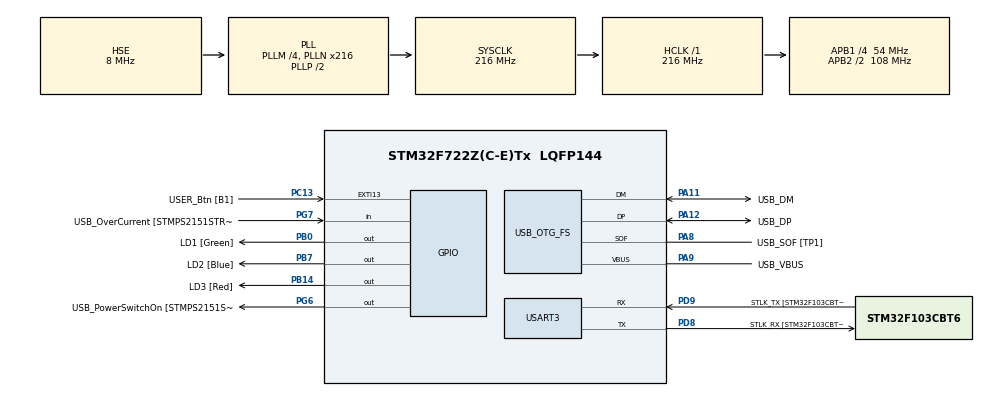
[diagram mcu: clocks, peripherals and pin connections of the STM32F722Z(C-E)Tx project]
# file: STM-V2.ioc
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Mcu.Family=STM32F7
Mcu.Name=STM32F722Z(C-E)Tx
Mcu.Package=LQFP144
NVIC.OTG_FS_IRQn=true\:0\:0\:false\:false\:true\:false\:true
NVIC.PriorityGroup=NVIC_PRIORITYGROUP_4
PA10.GPIO_Label=USB_ID
PA10.Signal=USB_OTG_FS_ID
PA11.GPIO_Label=USB_DM
PA11.Mode=Device_Only
PA11.Signal=USB_OTG_FS_DM
PA12.GPIO_Label=USB_DP
PA12.Mode=Device_Only
PA12.Signal=USB_OTG_FS_DP
PA13.GPIO_Label=TMS
PA13.Mode=Serial_Wire
PA13.Signal=SYS_JTMS-SWDIO
PA14.GPIO_Label=TCK
PA14.Mode=Serial_Wire
PA14.Signal=SYS_JTCK-SWCLK
PA8.GPIO_Label=USB_SOF [TP1]
PA8.Mode=Activate_SOF_FS
PA8.Signal=USB_OTG_FS_SOF
PA9.GPIO_Label=USB_VBUS
PA9.Mode=Activate_VBUS
PA9.Signal=USB_OTG_FS_VBUS
PB0.GPIO_Label=LD1 [Green]
PB0.Signal=GPIO_Output
PB14.GPIO_Label=LD3 [Red]
PB14.Signal=GPIO_Output
PB3.GPIO_Label=SWO
PB3.Signal=SYS_JTDO-SWO
PB7.GPIO_Label=LD2 [Blue]
PB7.Signal=GPIO_Output
PC13.GPIO_Label=USER_Btn [B1]
PC13.Signal=GPXTI13
PC14-OSC32_IN.Mode=LSE-External-Oscillator
PC14-OSC32_IN.Signal=RCC_OSC32_IN
PC15-OSC32_OUT.Mode=LSE-External-Oscillator
PC15-OSC32_OUT.Signal=RCC_OSC32_OUT
PD8.GPIO_Label=STLK_RX [STM32F103CBT6_PA3]
PD8.Mode=Asynchronous
PD8.Signal=USART3_TX
PD9.GPIO_Label=STLK_TX [STM32F103CBT6_PA2]
PD9.Mode=Asynchronous
PD9.Signal=USART3_RX
PG6.GPIO_Label=USB_PowerSwitchOn [STMPS2151STR_EN]
PG6.Signal=GPIO_Output
PG7.GPIO_Label=USB_OverCurrent [STMPS2151STR_FAULT]
PG7.Signal=GPIO_Input
PH0-OSC_IN.GPIO_Label=MCO
PH0-OSC_IN.Mode=HSE-External-Clock-Source
PH0-OSC_IN.Signal=RCC_OSC_IN
PH1-OSC_OUT.Mode=HSE-External-Clock-Source
PH1-OSC_OUT.Signal=RCC_OSC_OUT
ProjectManager.HeapSize=0x200
ProjectManager.StackSize=0x400
ProjectManager.TargetToolchain=STM32CubeIDE
RCC.48MHZClocksFreq_Value=24000000
RCC.AHBFreq_Value=216000000
RCC.APB1CLKDivider=RCC_HCLK_DIV4
RCC.APB1Freq_Value=54000000
RCC.APB1TimFreq_Value=108000000
RCC.APB2CLKDivider=RCC_HCLK_DIV2
RCC.APB2Freq_Value=108000000
RCC.APB2TimFreq_Value=216000000
RCC.CortexFreq_Value=216000000
RCC.HCLKFreq_Value=216000000
RCC.HSE_VALUE=8000000
RCC.HSI_VALUE=16000000
RCC.PLLM=4
RCC.PLLMUL=RCC_PLL_MUL9
RCC.PLLN=216
RCC.PLLQ=9
RCC.PRESCALERUSB=RCC_USBCLKSOURCE_PLL_DIV1_5
RCC.SYSCLKFreq_VALUE=216000000
RCC.SYSCLKSource=RCC_SYSCLKSOURCE_PLLCLK
RCC.SYSCLKSourceVirtual=RCC_SYSCLKSOURCE_PLLCLK
RCC.USBFreq_Value=48000000
RCC.VCOOutputFreq_Value=432000000
USART3.VirtualMode-Asynchronous=VM_ASYNC
USB_DEVICE.CLASS_NAME_FS=CDC
USB_DEVICE.VirtualMode-CDC_FS=Cdc
USB_DEVICE.VirtualModeFS=Cdc_FS
USB_OTG_FS.VirtualMode=Device_Only
VP_USB_DEVICE_VS_USB_DEVICE_CDC_FS.Mode=CDC_FS
board=NUCLEO-F722ZE

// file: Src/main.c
/* USER CODE BEGIN Header */
/**
  ******************************************************************************
  * @file           : main.c
  * @brief          : Main program body
  ******************************************************************************
  * @attention
  *
  * <h2><center>&copy; Copyright (c) 2020 STMicroelectronics.
  * All rights reserved.</center></h2>
  *
  * This software component is licensed by ST under Ultimate Liberty license
  * SLA0044, the "License"; You may not use this file except in compliance with
  * the License. You may obtain a copy of the License at:
  *                             www.st.com/SLA0044
  *
  ******************************************************************************
  */
/* USER CODE END Header */

#include "main.h"
#include "stm32f7xx_hal.h"
#include "usb_device.h"
#include <stdbool.h>

UART_HandleTypeDef huart3;
/* USER CODE BEGIN PV */
#define RECEIVE_BUFFER_LEN	256
uint8_t receive_buffer[RECEIVE_BUFFER_LEN];		//!< circular receive buffer
size_t rec_buf_read_i = 0;
size_t rec_buf_write_i = 0;

uint8_t receive_buffer_peek_data[256];		//!< a copy of receive buffer; not circular

bool receive_buffer_put_byte(uint8_t c)
{
	size_t new_write_i = (rec_buf_write_i + 1) % RECEIVE_BUFFER_LEN;
	if (new_write_i == rec_buf_read_i)
		return false;

	receive_buffer[rec_buf_write_i] = c;
	rec_buf_write_i = new_write_i;
	return true;
}

size_t receive_buffer_peek(void)
{
	size_t read_i = rec_buf_read_i;
	size_t write_i = rec_buf_write_i;
	size_t len = 0;

	for (;; ++len)
	{
		// checking if byte present in receive buffer:
		if (read_i == write_i)
			break;
		receive_buffer_peek_data[len] = receive_buffer[read_i];
		read_i = (read_i + 1) % RECEIVE_BUFFER_LEN;
	}
	return len;
}

bool receive_buffer_erase(size_t len)
{
	for (size_t i = 0; i < len; ++i)
	{
		// checking if can erase:
		if (rec_buf_read_i == rec_buf_write_i)
			return false;
		rec_buf_read_i = (rec_buf_read_i + 1) % RECEIVE_BUFFER_LEN;
	}
	return true;
}

/*
 * R/W BUFFER DESCRIPTIONS
 * For any index we do operation and then increase (modulo 12)
 *
          0   1   2   3   4   5   6   7   8   9   10  11
buffer:  [h] [e] [l] [l] [o] [ ] [w] [o] [r] [l] [d] [ ]  (12 bytes)
read_i:                           ^
write_i:                                              ^

Special cases:

1. FULL
buffer:  [X] [X] [X] [X] [X] [ ] [w] [o] [r] [l] [d] [X]  (12 bytes)
read_i:                           ^
write_i:                      ^

2. EMPTY
buffer:  [ ] [ ] [ ] [ ] [ ] [ ] [ ] [ ] [ ] [ ] [ ] [ ]  (12 bytes)
read_i:                       ^
write_i:                      ^
*/

/* USER CODE END PV */

void SystemClock_Config(void);
static void MX_GPIO_Init(void);
static void MX_USART3_UART_Init(void);
/* USER CODE BEGIN PFP */
extern uint8_t CDC_Transmit_FS(uint8_t* Buf, uint16_t Len);
/* USER CODE END PFP */

int main(void)
{
  /* USER CODE BEGIN 1 */
	char cmdbuf[200]; //string buffer
	uint16_t count=0;
	/* USER CODE END 1 */

  /* MCU Configuration--------------------------------------------------------*/

  /* Reset of all peripherals, Initializes the Flash interface and the Systick. */
  HAL_Init();

  /* Configure the system clock */
  SystemClock_Config();

  /* Initialize all configured peripherals */
  MX_GPIO_Init();
  MX_USART3_UART_Init();
  MX_USB_DEVICE_Init();

  /* Infinite loop */
  while (1)
  {

	  // checking so-far received data using peek:
	  size_t len = receive_buffer_peek();
	  if (len != 0)
	  {
		  /// << scanning received peek data for 0x0A (LF) symbol
		  // if found, processing string until that symbol
		  // erasing this string + LF symbol

		  continue;

		  if ((len >= 2) && (strncmp((char*)receive_buffer_peek_data, "ON", 2) == 0))
		  {
			  	HAL_GPIO_WritePin(GPIOB, LD1_Pin, GPIO_PIN_SET);
			  	receive_buffer_erase(2);
		  } else if ((len >= 3) && (strncmp((char*)receive_buffer_peek_data, "OFF", 3) == 0))
		  {
			  // turn LED OFF
			  	HAL_GPIO_WritePin(GPIOB, LD1_Pin, GPIO_PIN_RESET);
			  	receive_buffer_erase(3);
		  } else if ((len >= 5) && (strncmp((char*)receive_buffer_peek_data, "PRINT", 5) == 0))
		  {
				sprintf(cmdbuf,"Test print:%d\n",count++);
				MX_USB_SEND_DATA((uint8_t *)cmdbuf,strlen(cmdbuf));
				receive_buffer_erase(5);
		  } else
		  {
				receive_buffer_erase(1);
		  }
	  }
  }
}

void SystemClock_Config(void)
{
  RCC_OscInitTypeDef RCC_OscInitStruct = {0};
  RCC_ClkInitTypeDef RCC_ClkInitStruct = {0};
  RCC_PeriphCLKInitTypeDef PeriphClkInitStruct = {0};

  /** Configure LSE Drive Capability
  */
  HAL_PWR_EnableBkUpAccess();
  /** Configure the main internal regulator output voltage
  */
  __HAL_RCC_PWR_CLK_ENABLE();
  __HAL_PWR_VOLTAGESCALING_CONFIG(PWR_REGULATOR_VOLTAGE_SCALE1);
  /** Initializes the CPU, AHB and APB busses clocks
  */
  RCC_OscInitStruct.OscillatorType = RCC_OSCILLATORTYPE_HSE;
  RCC_OscInitStruct.HSEState = RCC_HSE_BYPASS;
  RCC_OscInitStruct.PLL.PLLState = RCC_PLL_ON;
  RCC_OscInitStruct.PLL.PLLSource = RCC_PLLSOURCE_HSE;
  RCC_OscInitStruct.PLL.PLLM = 4;
  RCC_OscInitStruct.PLL.PLLN = 216;
  RCC_OscInitStruct.PLL.PLLP = RCC_PLLP_DIV2;
  RCC_OscInitStruct.PLL.PLLQ = 9;
  if (HAL_RCC_OscConfig(&RCC_OscInitStruct) != HAL_OK)
  {
    Error_Handler();
  }
  /** Activate the Over-Drive mode
  */
  if (HAL_PWREx_EnableOverDrive() != HAL_OK)
  {
    Error_Handler();
  }
  /** Initializes the CPU, AHB and APB busses clocks
  */
  RCC_ClkInitStruct.ClockType = RCC_CLOCKTYPE_HCLK|RCC_CLOCKTYPE_SYSCLK
                              |RCC_CLOCKTYPE_PCLK1|RCC_CLOCKTYPE_PCLK2;
  RCC_ClkInitStruct.SYSCLKSource = RCC_SYSCLKSOURCE_PLLCLK;
  RCC_ClkInitStruct.AHBCLKDivider = RCC_SYSCLK_DIV1;
  RCC_ClkInitStruct.APB1CLKDivider = RCC_HCLK_DIV4;
  RCC_ClkInitStruct.APB2CLKDivider = RCC_HCLK_DIV2;

  if (HAL_RCC_ClockConfig(&RCC_ClkInitStruct, FLASH_LATENCY_7) != HAL_OK)
  {
    Error_Handler();
  }
  PeriphClkInitStruct.PeriphClockSelection = RCC_PERIPHCLK_USART3|RCC_PERIPHCLK_CLK48;
  PeriphClkInitStruct.Usart3ClockSelection = RCC_USART3CLKSOURCE_PCLK1;
  PeriphClkInitStruct.Clk48ClockSelection = RCC_CLK48SOURCE_PLL;
  if (HAL_RCCEx_PeriphCLKConfig(&PeriphClkInitStruct) != HAL_OK)
  {
    Error_Handler();
  }
}

static void MX_USART3_UART_Init(void)
{

  huart3.Instance = USART3;
  huart3.Init.BaudRate = 115200;
  huart3.Init.WordLength = UART_WORDLENGTH_8B;
  huart3.Init.StopBits = UART_STOPBITS_1;
  huart3.Init.Parity = UART_PARITY_NONE;
  huart3.Init.Mode = UART_MODE_TX_RX;
  huart3.Init.HwFlowCtl = UART_HWCONTROL_NONE;
  huart3.Init.OverSampling = UART_OVERSAMPLING_16;
  huart3.Init.OneBitSampling = UART_ONE_BIT_SAMPLE_DISABLE;
  huart3.AdvancedInit.AdvFeatureInit = UART_ADVFEATURE_NO_INIT;
  if (HAL_UART_Init(&huart3) != HAL_OK)
  {
    Error_Handler();
  }

}

static void MX_GPIO_Init(void)
{
  GPIO_InitTypeDef GPIO_InitStruct = {0};

  /* GPIO Ports Clock Enable */
  __HAL_RCC_GPIOC_CLK_ENABLE();
  __HAL_RCC_GPIOH_CLK_ENABLE();
  __HAL_RCC_GPIOB_CLK_ENABLE();
  __HAL_RCC_GPIOD_CLK_ENABLE();
  __HAL_RCC_GPIOG_CLK_ENABLE();
  __HAL_RCC_GPIOA_CLK_ENABLE();

  /*Configure GPIO pin Output Level */
  HAL_GPIO_WritePin(GPIOB, LD1_Pin|LD3_Pin|LD2_Pin, GPIO_PIN_RESET);

  /*Configure GPIO pin Output Level */
  HAL_GPIO_WritePin(USB_PowerSwitchOn_GPIO_Port, USB_PowerSwitchOn_Pin, GPIO_PIN_RESET);

  /*Configure GPIO pin : USER_Btn_Pin */
  GPIO_InitStruct.Pin = USER_Btn_Pin;
  GPIO_InitStruct.Mode = GPIO_MODE_IT_RISING;
  GPIO_InitStruct.Pull = GPIO_NOPULL;
  HAL_GPIO_Init(USER_Btn_GPIO_Port, &GPIO_InitStruct);

  /*Configure GPIO pins : LD1_Pin LD3_Pin LD2_Pin */
  GPIO_InitStruct.Pin = LD1_Pin|LD3_Pin|LD2_Pin;
  GPIO_InitStruct.Mode = GPIO_MODE_OUTPUT_PP;
  GPIO_InitStruct.Pull = GPIO_NOPULL;
  GPIO_InitStruct.Speed = GPIO_SPEED_FREQ_LOW;
  HAL_GPIO_Init(GPIOB, &GPIO_InitStruct);

  /*Configure GPIO pin : USB_PowerSwitchOn_Pin */
  GPIO_InitStruct.Pin = USB_PowerSwitchOn_Pin;
  GPIO_InitStruct.Mode = GPIO_MODE_OUTPUT_PP;
  GPIO_InitStruct.Pull = GPIO_NOPULL;
  GPIO_InitStruct.Speed = GPIO_SPEED_FREQ_LOW;
  HAL_GPIO_Init(USB_PowerSwitchOn_GPIO_Port, &GPIO_InitStruct);

  /*Configure GPIO pin : USB_OverCurrent_Pin */
  GPIO_InitStruct.Pin = USB_OverCurrent_Pin;
  GPIO_InitStruct.Mode = GPIO_MODE_INPUT;
  GPIO_InitStruct.Pull = GPIO_NOPULL;
  HAL_GPIO_Init(USB_OverCurrent_GPIO_Port, &GPIO_InitStruct);

}

void Error_Handler(void)
{
  /* USER CODE BEGIN Error_Handler_Debug */
  /* User can add his own implementation to report the HAL error return state */
//  while(1){
//	  // loop forever (halt)
//  }
  /* USER CODE END Error_Handler_Debug */
}

/************************ (C) COPYRIGHT STMicroelectronics *****END OF FILE****/
